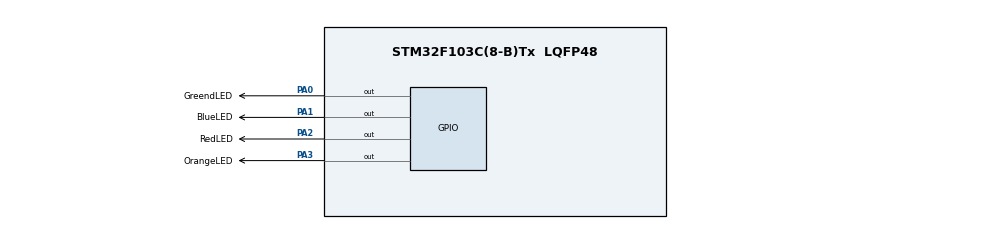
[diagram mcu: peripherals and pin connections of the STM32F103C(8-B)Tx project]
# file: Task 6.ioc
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FREERTOS.Tasks01=defaultTask,0,128,StartDefaultTask,Default,NULL,Dynamic,NULL,NULL;GreenLedFlash,0,128,GreendLedTask,Default,NULL,Dynamic,NULL,NULL;RedLedFlash,0,128,RedLedTask,Default,NULL,Dynamic,NULL,NULL;OrangeLedFlash,1,128,OrangeLedTask,Default,NULL,Dynamic,NULL,NULL
FREERTOS.configUSE_NEWLIB_REENTRANT=1
Mcu.Family=STM32F1
Mcu.Name=STM32F103C(8-B)Tx
Mcu.Package=LQFP48
NVIC.PriorityGroup=NVIC_PRIORITYGROUP_4
NVIC.TIM4_IRQn=true\:15\:0\:false\:false\:true\:false\:false\:true\:true
NVIC.TimeBase=TIM4_IRQn
NVIC.TimeBaseIP=TIM4
PA0-WKUP.GPIO_Label=GreendLED
PA0-WKUP.Signal=GPIO_Output
PA1.GPIO_Label=BlueLED
PA1.Signal=GPIO_Output
PA13.Mode=Serial_Wire
PA13.Signal=SYS_JTMS-SWDIO
PA14.Mode=Serial_Wire
PA14.Signal=SYS_JTCK-SWCLK
PA2.GPIO_Label=RedLED
PA2.Signal=GPIO_Output
PA3.GPIO_Label=OrangeLED
PA3.Signal=GPIO_Output
ProjectManager.HeapSize=0x200
ProjectManager.StackSize=0x400
ProjectManager.TargetToolchain=STM32CubeIDE
RCC.APB1Freq_Value=8000000
RCC.APB2Freq_Value=8000000
VP_FREERTOS_VS_CMSIS_V1.Mode=CMSIS_V1
VP_SYS_VS_tim4.Mode=TIM4
board=custom

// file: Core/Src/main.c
/* USER CODE BEGIN Header */
/**
  ******************************************************************************
  * @file           : main.c
  * @brief          : Main program body
  ******************************************************************************
  * @attention
  *
  * Copyright (c) 2024 STMicroelectronics.
  * All rights reserved.
  *
  * This software is licensed under terms that can be found in the LICENSE file
  * in the root directory of this software component.
  * If no LICENSE file comes with this software, it is provided AS-IS.
  *
  ******************************************************************************
  */
/* USER CODE END Header */
#include "main.h"
#include "cmsis_os.h"

osThreadId defaultTaskHandle;
osThreadId GreenLedFlashHandle;
osThreadId RedLedFlashHandle;
osThreadId OrangeLedFlashHandle;
/* USER CODE BEGIN PV */
volatile uint8_t startFlag = 1;
/* USER CODE END PV */

void SystemClock_Config(void);
static void MX_GPIO_Init(void);
void StartDefaultTask(void const * argument);
void GreendLedTask(void const * argument);
void RedLedTask(void const * argument);
void OrangeLedTask(void const * argument);
void SimulateReadWriteOperation(void);

int main(void)
{

  /* MCU Configuration--------------------------------------------------------*/

  /* Reset of all peripherals, Initializes the Flash interface and the Systick. */
  HAL_Init();

  /* Configure the system clock */
  SystemClock_Config();

  /* Initialize all configured peripherals */
  MX_GPIO_Init();

  /* Create the thread(s) */
  /* definition and creation of defaultTask */
  osThreadDef(defaultTask, StartDefaultTask, osPriorityNormal, 0, 128);
  defaultTaskHandle = osThreadCreate(osThread(defaultTask), NULL);

  /* definition and creation of GreenLedFlash */
  osThreadDef(GreenLedFlash, GreendLedTask, osPriorityNormal, 0, 128);
  GreenLedFlashHandle = osThreadCreate(osThread(GreenLedFlash), NULL);

  /* definition and creation of RedLedFlash */
  osThreadDef(RedLedFlash, RedLedTask, osPriorityNormal, 0, 128);
  RedLedFlashHandle = osThreadCreate(osThread(RedLedFlash), NULL);

  /* definition and creation of OrangeLedFlash */
  osThreadDef(OrangeLedFlash, OrangeLedTask, osPriorityAboveNormal, 0, 128);
  OrangeLedFlashHandle = osThreadCreate(osThread(OrangeLedFlash), NULL);

  /* Start scheduler */
  osKernelStart();

  /* We should never get here as control is now taken by the scheduler */

  /* Infinite loop */
  while (1)
  {

  }
}

void SystemClock_Config(void)
{
  RCC_OscInitTypeDef RCC_OscInitStruct = {0};
  RCC_ClkInitTypeDef RCC_ClkInitStruct = {0};

  /** Initializes the RCC Oscillators according to the specified parameters
  * in the RCC_OscInitTypeDef structure.
  */
  RCC_OscInitStruct.OscillatorType = RCC_OSCILLATORTYPE_HSI;
  RCC_OscInitStruct.HSIState = RCC_HSI_ON;
  RCC_OscInitStruct.HSICalibrationValue = RCC_HSICALIBRATION_DEFAULT;
  RCC_OscInitStruct.PLL.PLLState = RCC_PLL_NONE;
  if (HAL_RCC_OscConfig(&RCC_OscInitStruct) != HAL_OK)
  {
    Error_Handler();
  }

  /** Initializes the CPU, AHB and APB buses clocks
  */
  RCC_ClkInitStruct.ClockType = RCC_CLOCKTYPE_HCLK|RCC_CLOCKTYPE_SYSCLK
                              |RCC_CLOCKTYPE_PCLK1|RCC_CLOCKTYPE_PCLK2;
  RCC_ClkInitStruct.SYSCLKSource = RCC_SYSCLKSOURCE_HSI;
  RCC_ClkInitStruct.AHBCLKDivider = RCC_SYSCLK_DIV1;
  RCC_ClkInitStruct.APB1CLKDivider = RCC_HCLK_DIV1;
  RCC_ClkInitStruct.APB2CLKDivider = RCC_HCLK_DIV1;

  if (HAL_RCC_ClockConfig(&RCC_ClkInitStruct, FLASH_LATENCY_0) != HAL_OK)
  {
    Error_Handler();
  }
}

static void MX_GPIO_Init(void)
{
  GPIO_InitTypeDef GPIO_InitStruct = {0};

  /* GPIO Ports Clock Enable */
  __HAL_RCC_GPIOA_CLK_ENABLE();

  /*Configure GPIO pin Output Level */
  HAL_GPIO_WritePin(GPIOA, GreendLED_Pin|BlueLED_Pin|RedLED_Pin|OrangeLED_Pin, GPIO_PIN_RESET);

  /*Configure GPIO pins : GreendLED_Pin BlueLED_Pin RedLED_Pin OrangeLED_Pin */
  GPIO_InitStruct.Pin = GreendLED_Pin|BlueLED_Pin|RedLED_Pin|OrangeLED_Pin;
  GPIO_InitStruct.Mode = GPIO_MODE_OUTPUT_PP;
  GPIO_InitStruct.Pull = GPIO_NOPULL;
  GPIO_InitStruct.Speed = GPIO_SPEED_FREQ_LOW;
  HAL_GPIO_Init(GPIOA, &GPIO_InitStruct);

}

/* USER CODE BEGIN 4 */
void accessSharedData(void)
{
  if (startFlag == 1)
  {
    startFlag = 0;
  }
  else
  {
    HAL_GPIO_WritePin(GPIOA, GPIO_PIN_1, GPIO_PIN_SET);
  }
  SimulateReadWriteOperation();
  startFlag = 1;
  HAL_GPIO_WritePin(GPIOA, GPIO_PIN_1, GPIO_PIN_RESET);
}

void SimulateReadWriteOperation(void) {
	volatile uint32_t delay_count = 0;
	const uint32_t delay_target = 2000000;
	for (delay_count = 0; delay_count < delay_target; delay_count++) {
	__asm("nop");
	}
}

/* USER CODE END 4 */

void StartDefaultTask(void const * argument)
{
  for(;;)
  {
    osDelay(1);
  }
}

void GreendLedTask(void const * argument)
{
  /* USER CODE BEGIN GreendLedTask */
  /* Infinite loop */
	for(;;)
		  {
		    HAL_GPIO_WritePin(GPIOA, GPIO_PIN_0, GPIO_PIN_SET);
		    taskENTER_CRITICAL();
		    accessSharedData();
		    taskEXIT_CRITICAL();
		    HAL_GPIO_WritePin(GPIOA, GPIO_PIN_0, GPIO_PIN_RESET);
		    osDelay(200);
		  }
  /* USER CODE END GreendLedTask */
}

void RedLedTask(void const * argument)
{
  /* USER CODE BEGIN RedLedTask */
  /* Infinite loop */
	for(;;)
		    {
		        HAL_GPIO_WritePin(GPIOA, GPIO_PIN_2, GPIO_PIN_SET);
		        taskENTER_CRITICAL();
		        accessSharedData();
		        taskEXIT_CRITICAL();
		        HAL_GPIO_WritePin(GPIOA, GPIO_PIN_2, GPIO_PIN_RESET);
		        osDelay(550);
		    }
  /* USER CODE END RedLedTask */
}

void OrangeLedTask(void const * argument)
{
  /* USER CODE BEGIN OrangeLedTask */
  /* Infinite loop */
	for(;;)
		  {
		    HAL_GPIO_TogglePin(GPIOA, GPIO_PIN_3);
		    osDelay(50);
		  }
  /* USER CODE END OrangeLedTask */
}

void HAL_TIM_PeriodElapsedCallback(TIM_HandleTypeDef *htim)
{
  if (htim->Instance == TIM4) {
    HAL_IncTick();
  }
}

void Error_Handler(void)
{
  __disable_irq();
  while (1)
  {
  }
}
